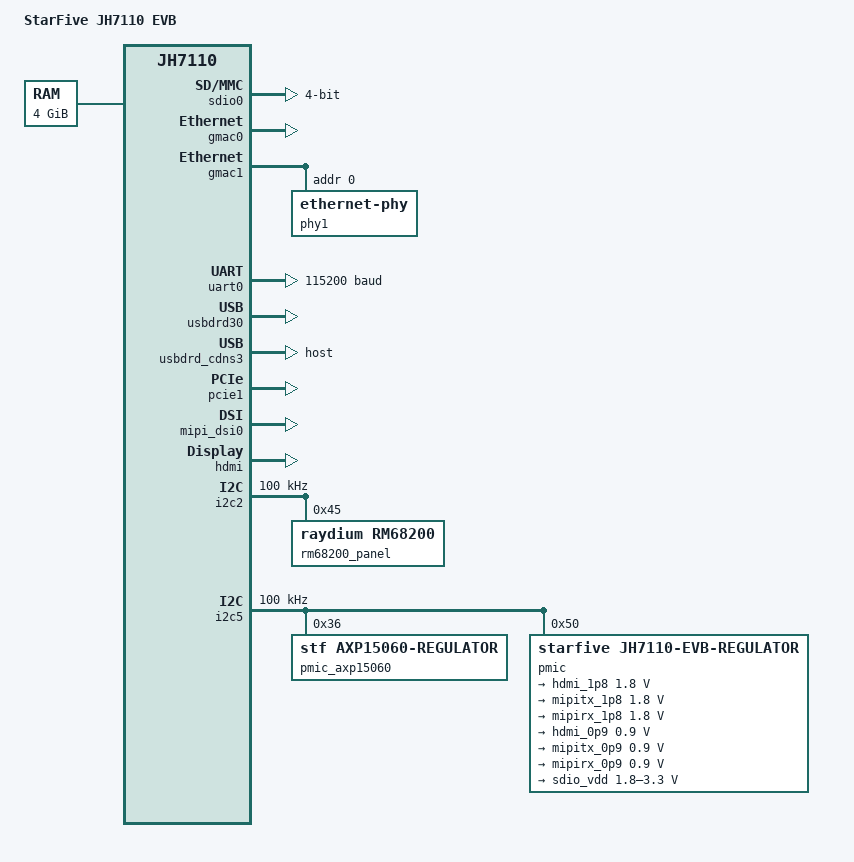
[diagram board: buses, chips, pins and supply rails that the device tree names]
// SPDX-License-Identifier: GPL-2.0 OR MIT
/*
 * Copyright (C) 2022 StarFive Technology Co., Ltd.
 */

/dts-v1/;

#include "jh7110.dtsi"
#include <dt-bindings/pinctrl/pinctrl-starfive-jh7110.h>
/ {
	#address-cells = <2>;
	#size-cells = <2>;
	model = "StarFive JH7110 EVB";
	compatible = "starfive,jh7110";

	aliases {
		spi0="/soc/spi@13010000";
		gpio0="/soc/gpio@13040000";
		ethernet0=&gmac0;
		ethernet1=&gmac1;
		mmc0=&sdio0;
		mmc1=&sdio1;
	};

	chosen {
			stdout-path = "/soc/serial@10000000:115200";
			starfive,boot-hart-id = <1>;
	};

	memory@80000000 {
		device_type = "memory";
		reg = <0x0 0x40000000 0x1 0x0>;
	};

	reserved-memory {
			#size-cells = <2>;
			#address-cells = <2>;
			ranges;

			opensbi {
				reg = <0x00 0x40000000 0x00 0x80000>;
				no-map;
			};
	};

	soc {
	};
};

&cpu0 {
	status = "okay";
};

&clkgen {
	clocks = <&osc>, <&gmac1_rmii_refin>,
		<&stg_apb>, <&gmac0_rmii_refin>;
	clock-names = "osc", "gmac1_rmii_refin",
		"stg_apb", "gmac0_rmii_refin";
};

&gpio {
	status = "okay";

	usb_pins: usb-pins {
		drive-vbus-pin {
			pinmux = <GPIOMUX(33, GPOUT_SYS_USB_DRIVE_VBUS,
						GPOEN_ENABLE, GPI_NONE)>;
			bias-pull-up;
			drive-strength = <2>;
			input-disable;
			input-schmitt-disable;
			slew-rate = <0>;
		};

		overcurrent-pin {
			pinmux = <GPIOMUX(34, GPOUT_LOW,
						GPOEN_DISABLE, GPI_SYS_USB_OVERCURRENT)>;
			bias-pull-up;
			drive-strength = <2>;
			input-disable;
			input-schmitt-disable;
			slew-rate = <0>;
		};
	};

	mmc0_pins: mmc0-pins {
		 mmc0-pins-rest {
			pinmux = <GPIOMUX(22, GPOUT_SYS_SDIO0_RST,
						GPOEN_ENABLE, GPI_NONE)>;
			bias-pull-up;
			drive-strength = <12>;
			input-disable;
			input-schmitt-disable;
			slew-rate = <0>;
		};
	};

	mmc1_pins: mmc1-pins {
		 mmc1-pins-rest {
			pinmux = <GPIOMUX(24, GPOUT_SYS_SDIO1_RST,
						GPOEN_ENABLE, GPI_NONE)>;
			bias-pull-up;
			drive-strength = <12>;
			input-disable;
			input-schmitt-disable;
			slew-rate = <0>;
		};
	};

	i2c2_pins: i2c2-0 {
		i2c-pins {
			pinmux = <GPIOMUX(11, GPOUT_LOW,
				  GPOEN_SYS_I2C2_CLK,
				  GPI_SYS_I2C2_CLK)>,
				 <GPIOMUX(9, GPOUT_LOW,
				  GPOEN_SYS_I2C2_DATA,
				  GPI_SYS_I2C2_DATA)>;
			bias-disable; /* external pull-up */
			input-enable;
			input-schmitt-enable;
		};
	};

	i2c5_pins: i2c5-0 {
		i2c-pins {
			pinmux = <GPIOMUX(19, GPOUT_LOW,
				  GPOEN_SYS_I2C5_CLK,
				  GPI_SYS_I2C5_CLK)>,
				 <GPIOMUX(20, GPOUT_LOW,
				  GPOEN_SYS_I2C5_DATA,
				  GPI_SYS_I2C5_DATA)>;
			bias-disable; /* external pull-up */
			input-enable;
			input-schmitt-enable;
		};
	};

	hdmi_pins: hdmi-0 {
		i2c-pins {
			pinmux = <GPIOMUX(7, GPOUT_SYS_HDMI_DDC_SCL,
				  GPOEN_SYS_HDMI_DDC_SCL,
				  GPI_SYS_HDMI_DDC_SCL)>,
				 <GPIOMUX(8, GPOUT_SYS_HDMI_DDC_SDA,
				  GPOEN_SYS_HDMI_DDC_SDA,
				  GPI_SYS_HDMI_DDC_SDA)>;
			bias-pull-up;
			input-enable;
		};

		cec-pins {
			pinmux = <GPIOMUX(14, GPOUT_SYS_HDMI_CEC_SDA,
				  GPOEN_SYS_HDMI_CEC_SDA,
				  GPI_SYS_HDMI_CEC_SDA)>;
			bias-pull-up;
			input-enable;
		};

		hpd-pins {
			pinmux = <GPIOMUX(15, GPOUT_LOW,
				  GPOEN_DISABLE,
				  GPI_SYS_HDMI_HPD)>;
			input-enable;
		};
	};

	pcie0_perst_default: pcie0_perst_default {
		perst-pins {
			pinmux = <GPIOMUX(26, GPOUT_HIGH, GPOEN_ENABLE, GPI_NONE)>;
			drive-strength = <2>;
			input-disable;
			input-schmitt-disable;
			slew-rate = <0>;
		};
	};

	pcie0_perst_active: pcie0_perst_active {
		perst-pins {
			pinmux = <GPIOMUX(26, GPOUT_LOW, GPOEN_ENABLE, GPI_NONE)>;
			drive-strength = <2>;
			input-disable;
			input-schmitt-disable;
			slew-rate = <0>;
		};
	};

	pcie0_power_default: pcie0_power_default {
		power-pins {
			pinmux = <GPIOMUX(32, GPOUT_LOW, GPOEN_ENABLE, GPI_NONE)>;
			drive-strength = <2>;
			input-disable;
			input-schmitt-disable;
			slew-rate = <0>;
		};
	};

	pcie0_power_active: pcie0_power_active {
		power-pins {
			pinmux = <GPIOMUX(32, GPOUT_HIGH, GPOEN_ENABLE, GPI_NONE)>;
			drive-strength = <2>;
			input-disable;
			input-schmitt-disable;
			slew-rate = <0>;
		};
	};

	pcie1_perst_default: pcie1_perst_default {
		perst-pins {
			pinmux = <GPIOMUX(28, GPOUT_HIGH, GPOEN_ENABLE, GPI_NONE)>;
			drive-strength = <2>;
			input-disable;
			input-schmitt-disable;
			slew-rate = <0>;
		};
	};

	pcie1_perst_active: pcie1_perst_active {
		perst-pins {
			pinmux = <GPIOMUX(28, GPOUT_LOW, GPOEN_ENABLE, GPI_NONE)>;
			drive-strength = <2>;
			input-disable;
			input-schmitt-disable;
			slew-rate = <0>;
		};
	};

	pcie1_power_default: pcie1_power_default {
		power-pins {
			pinmux = <GPIOMUX(21, GPOUT_LOW, GPOEN_ENABLE, GPI_NONE)>;
			drive-strength = <2>;
			input-disable;
			input-schmitt-disable;
			slew-rate = <0>;
		};
	};

	pcie1_power_active: pcie1_power_active {
		power-pins {
			pinmux = <GPIOMUX(21, GPOUT_HIGH, GPOEN_ENABLE, GPI_NONE)>;
			drive-strength = <2>;
			input-disable;
			input-schmitt-disable;
			slew-rate = <0>;
		};
	};

};

&sdio0 {
	assigned-clocks = <&clkgen JH7110_SDIO0_CLK_SDCARD>;
	assigned-clock-rates = <50000000>;
	fifo-depth = <32>;
	bus-width = <4>;
	status = "okay";
	pinctrl-names = "default";
	pinctrl-0 = <&mmc0_pins>;
};

&sdio1 {
	status = "disabled";
	pinctrl-names = "default";
	pinctrl-0 = <&mmc1_pins>;
};

&gmac0 {
	status = "okay";
	#address-cells = <1>;
	#size-cells = <0>;
	phy0: ethernet-phy@0 {
		rxc_dly_en = <1>;
		tx_delay_sel_fe = <5>;
		tx_delay_sel = <0xb>;
		tx_inverted_10 = <0x0>;
		tx_inverted_100 = <0x0>;
		tx_inverted_1000 = <0x0>;
	};
};

&gmac1 {
	status = "okay";
	#address-cells = <1>;
	#size-cells = <0>;
	phy1: ethernet-phy@1 {
		rxc-skew-ps = <1060>;
		txc-skew-ps = <1800>;
		reg = <0>;
	};
};

&uart0 {
	reg-offset = <0>;
	current-speed = <115200>;
	status = "okay";
};

&gpioa {
	status = "disabled";
};

&usbdrd30 {
	status = "okay";
};

&usbdrd_cdns3 {
	dr_mode = "host";
	pinctrl-names = "default";
	pinctrl-0 = <&usb_pins>;
};

&pcie0 {
	pinctrl-names = "perst-default", "perst-active", "power-default", "power-active";
	pinctrl-0 = <&pcie0_perst_default>;
	pinctrl-1 = <&pcie0_perst_active>;
	pinctrl-2 = <&pcie0_power_default>;
	pinctrl-3 = <&pcie0_power_active>;
	status = "disabled";
};

&pcie1 {
	pinctrl-names = "perst-default", "perst-active", "power-default", "power-active";
	pinctrl-0 = <&pcie1_perst_default>;
	pinctrl-1 = <&pcie1_perst_active>;
	pinctrl-2 = <&pcie1_power_default>;
	pinctrl-3 = <&pcie1_power_active>;
	status = "okay";
};

&timer {
	status = "disabled";
};

&wdog {
	status = "disabled";
};

&clkvout {
	status = "okay";
};

&pdm {
	status = "disabled";
};

&mipi_dsi0 {
	status = "okay";
	rockchip,panel = <&rm68200_panel>;
	data-lanes-num = <1>;
	display-timings {
		timing0 {
		bits-per-pixel = <24>;
		clock-frequency = <160000000>;
		hfront-porch = <120>;
		hsync-len = <20>;
		hback-porch = <21>;
		hactive = <1200>;
		vfront-porch = <21>;
		vsync-len = <3>;
		vback-porch = <18>;
		vactive = <1920>;
		hsync-active = <0>;
		vsync-active = <0>;
		de-active = <1>;
		pixelclk-active = <0>;
		};
	};

};

&hdmi{
	pinctrl-names = "default";
	pinctrl-0 = <&hdmi_pins>;
	status = "okay";
};

&i2c2 {
	clock-frequency = <100000>;
	i2c-sda-hold-time-ns = <300>;
	i2c-sda-falling-time-ns = <3000>;
	i2c-scl-falling-time-ns = <3000>;
	auto_calc_scl_lhcnt;
	pinctrl-names = "default";
	pinctrl-0 = <&i2c2_pins>;
	status = "okay";

	rm68200_panel: rm68200_panel@45 {
		compatible = "raydium,rm68200";
		reg = <0x45>;

	};


};


&i2c5 {
	clock-frequency = <100000>;
	i2c-sda-hold-time-ns = <300>;
	i2c-sda-falling-time-ns = <3000>;
	i2c-scl-falling-time-ns = <3000>;
	auto_calc_scl_lhcnt;
	pinctrl-names = "default";
	pinctrl-0 = <&i2c5_pins>;
	status = "okay";

	pmic_axp15060: axp15060_reg@36 {
               compatible = "stf,axp15060-regulator";
               reg = <0x36>;
	};

	pmic: jh7110_evb_reg@50 {
		compatible = "starfive,jh7110-evb-regulator";
		reg = <0x50>;

		regulators {
			hdmi_1p8: ldo1 {
				regulator-name = "lp8733-ldo1";
				regulator-min-microvolt = <1800000>;
				regulator-max-microvolt = <1800000>;
				regulator-boot-on;
				regulator-always-on;
			};
			mipitx_1p8: ldo2 {
				regulator-name = "lp8733-ldo2";
				regulator-min-microvolt = <1800000>;
				regulator-max-microvolt = <1800000>;
				regulator-boot-on;
				regulator-always-on;
			};
			mipirx_1p8: ldo3 {
				regulator-name = "lp8733-ldo3";
				regulator-min-microvolt = <1800000>;
				regulator-max-microvolt = <1800000>;
				regulator-boot-on;
				regulator-always-on;
			};
			hdmi_0p9: ldo4 {
				regulator-name = "lp8733-ldo4";
				regulator-min-microvolt = <900000>;
				regulator-max-microvolt = <900000>;
				regulator-boot-on;
				regulator-always-on;
			};
			mipitx_0p9: ldo5 {
				regulator-name = "lp8733-ldo5";
				regulator-min-microvolt = <900000>;
				regulator-max-microvolt = <900000>;
				regulator-boot-on;
				regulator-always-on;
			};
			mipirx_0p9: ldo6 {
				regulator-name = "lp8733-ldo6";
				regulator-min-microvolt = <900000>;
				regulator-max-microvolt = <900000>;
				regulator-boot-on;
				regulator-always-on;
			};
			sdio_vdd: ldo7 {
				regulator-name = "lp8733-ldo7";
				regulator-min-microvolt = <1800000>;
				regulator-max-microvolt = <3300000>;
				regulator-boot-on;
				regulator-always-on;
			};
		};
	};
};
